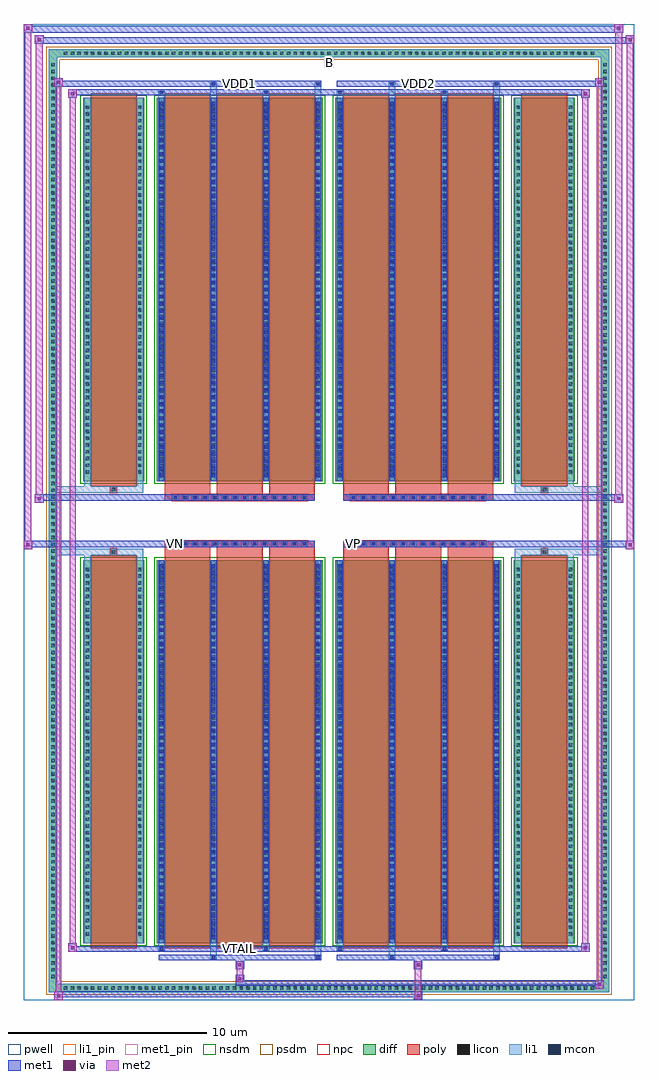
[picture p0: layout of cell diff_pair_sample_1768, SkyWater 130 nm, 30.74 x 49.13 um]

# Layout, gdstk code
import gdstk
lib = gdstk.Library(unit=1e-6, precision=5e-09)
def R(c, l, rs):  # rectangles x0, y0, x1, y1
    for r in rs: c.add(gdstk.rectangle(r[:2], r[2:], *l))
def A(c, l, x, y, w, h, nx, ny, dx, dy):  # array of equal rectangles
    R(c, l, [(x+i*dx, y+j*dy, x+i*dx+w, y+j*dy+h) for i in range(nx) for j in range(ny)])
def P(c, l, *ps):  # polygons
    for p in ps: c.add(gdstk.Polygon(p, *l))
pwell = (64, 44)
diff = (65, 20)
poly = (66, 20)
licon = (66, 44)
li1_pin = (67, 16)
li1 = (67, 20)
mcon = (67, 44)
met1_pin = (68, 16)
met1 = (68, 20)
via = (68, 44)
met2 = (69, 20)
nsdm = (93, 44)
psdm = (94, 20)
npc = (95, 20)

diff_pair_sample_1768 = lib.new_cell('diff_pair_sample_1768')
R(diff_pair_sample_1768, pwell, [(-15.37,-24.13,15.37,25), (-12.69,-22.32,-0.01,-0.8), (0.01,-22.32,12.69,-0.8), (-12.69,0.8,-0.01,22.32), (0.01,0.8,12.69,22.32)])
A(diff_pair_sample_1768, diff, -13.465, -23.73, 0.41, 0.41, 79, 2, 0.34, 47.05)
A(diff_pair_sample_1768, diff, -14.1, -23.155, 0.41, 0.41, 1, 136, 0, 0.34)
A(diff_pair_sample_1768, diff, 13.69, -23.155, 0.41, 0.41, 1, 136, 0, 0.34)
R(diff_pair_sample_1768, diff, [(-13.465,-23.73,13.465,-23.32), (-14.1,-23.155,-13.69,23.155), (13.69,-23.155,14.1,23.155), (-12.38,-21.275,-9.3,-1.985), (-8.66,-21.275,-0.32,-1.985), (0.32,-21.275,8.66,-1.985), (9.3,-21.275,12.38,-1.985), (-12.38,1.985,-9.3,21.275), (-8.66,1.985,-0.32,21.275), (0.32,1.985,8.66,21.275), (9.3,1.985,12.38,21.275), (-13.465,23.32,13.465,23.73)])
P(diff_pair_sample_1768, diff, [(14.1,23.73),(-14.1,23.73),(-14.1,-23.32),(-13.69,-23.32),(-13.69,23.32),(13.69,23.32),(13.69,-23.32),(-13.69,-23.32),(-14.1,-23.32),(-14.1,-23.73),(14.1,-23.73)])
A(diff_pair_sample_1768, poly, -8.27, -21.525, 2.3, 19.79, 3, 2, 2.63, 23.26)
A(diff_pair_sample_1768, poly, 0.71, -21.525, 2.3, 19.79, 3, 2, 2.63, 23.26)
A(diff_pair_sample_1768, poly, -8.27, -1.735, 2.3, 0.405, 3, 2, 2.63, 3.065)
A(diff_pair_sample_1768, poly, 0.71, -1.735, 2.3, 0.405, 3, 2, 2.63, 3.065)
A(diff_pair_sample_1768, poly, -7.905, -1.33, 0.33, 0.33, 14, 2, 0.5, 2.33)
A(diff_pair_sample_1768, poly, 1.075, -1.33, 0.33, 0.33, 14, 2, 0.5, 2.33)
R(diff_pair_sample_1768, poly, [(-11.99,-21.525,-9.69,-1.735), (9.69,-21.525,11.99,-1.735), (-11.005,-1.735,-10.675,-1.405), (-11.005,-1.735,-10.675,-1.405), (10.675,-1.735,11.005,-1.405), (10.675,-1.735,11.005,-1.405), (-8.27,-1.33,-0.71,-1), (0.71,-1.33,8.27,-1), (-8.27,1,-0.71,1.33), (0.71,1,8.27,1.33), (-11.005,1.405,-10.675,1.735), (-11.005,1.405,-10.675,1.735), (10.675,1.405,11.005,1.735), (10.675,1.405,11.005,1.735), (-11.99,1.735,-9.69,21.525), (9.69,1.735,11.99,21.525)])
A(diff_pair_sample_1768, licon, -13.345, -23.61, 0.17, 0.17, 79, 2, 0.34, 47.05)
A(diff_pair_sample_1768, licon, -13.98, -23.035, 0.17, 0.17, 1, 136, 0, 0.34)
A(diff_pair_sample_1768, licon, 13.81, -23.035, 0.17, 0.17, 1, 136, 0, 0.34)
A(diff_pair_sample_1768, licon, -12.24, -20.895, 0.17, 0.17, 1, 55, 0, 0.34)
A(diff_pair_sample_1768, licon, -9.61, -20.895, 0.17, 0.17, 1, 55, 0, 0.34)
A(diff_pair_sample_1768, licon, -8.52, -20.895, 0.17, 0.17, 4, 55, 2.63, 0.34)
A(diff_pair_sample_1768, licon, 0.46, -20.895, 0.17, 0.17, 4, 55, 2.63, 0.34)
A(diff_pair_sample_1768, licon, 9.44, -20.895, 0.17, 0.17, 1, 55, 0, 0.34)
A(diff_pair_sample_1768, licon, 12.07, -20.895, 0.17, 0.17, 1, 55, 0, 0.34)
A(diff_pair_sample_1768, licon, -7.825, -1.25, 0.17, 0.17, 14, 2, 0.5, 2.33)
A(diff_pair_sample_1768, licon, 1.155, -1.25, 0.17, 0.17, 14, 2, 0.5, 2.33)
A(diff_pair_sample_1768, licon, -12.24, 2.365, 0.17, 0.17, 1, 55, 0, 0.34)
A(diff_pair_sample_1768, licon, -9.61, 2.365, 0.17, 0.17, 1, 55, 0, 0.34)
A(diff_pair_sample_1768, licon, -8.52, 2.365, 0.17, 0.17, 4, 55, 2.63, 0.34)
A(diff_pair_sample_1768, licon, 0.46, 2.365, 0.17, 0.17, 4, 55, 2.63, 0.34)
A(diff_pair_sample_1768, licon, 9.44, 2.365, 0.17, 0.17, 1, 55, 0, 0.34)
A(diff_pair_sample_1768, licon, 12.07, 2.365, 0.17, 0.17, 1, 55, 0, 0.34)
R(diff_pair_sample_1768, licon, [(-10.925,-1.655,-10.755,-1.485), (10.755,-1.655,10.925,-1.485), (-10.925,1.485,-10.755,1.655), (10.755,1.485,10.925,1.655)])
R(diff_pair_sample_1768, li1_pin, [(-0.25,22.82,0.25,23.32)])
A(diff_pair_sample_1768, li1, -13.425, -23.69, 0.33, 0.33, 79, 2, 0.34, 47.05)
A(diff_pair_sample_1768, li1, -14.06, -23.115, 0.33, 0.33, 1, 136, 0, 0.34)
A(diff_pair_sample_1768, li1, 13.73, -23.115, 0.33, 0.33, 1, 136, 0, 0.34)
A(diff_pair_sample_1768, li1, -8.6, -21.275, 0.33, 19.29, 4, 2, 2.63, 23.26)
A(diff_pair_sample_1768, li1, 0.38, -21.275, 0.33, 19.29, 4, 2, 2.63, 23.26)
A(diff_pair_sample_1768, li1, -8.52, -21.075, 0.17, 0.17, 4, 53, 2.63, 0.36)
A(diff_pair_sample_1768, li1, -8.52, -21.075, 0.17, 18.89, 4, 2, 2.63, 23.26)
A(diff_pair_sample_1768, li1, 0.46, -21.075, 0.17, 0.17, 4, 53, 2.63, 0.36)
A(diff_pair_sample_1768, li1, 0.46, -21.075, 0.17, 18.89, 4, 2, 2.63, 23.26)
A(diff_pair_sample_1768, li1, -12.32, -20.975, 0.33, 0.33, 1, 55, 0, 0.34)
A(diff_pair_sample_1768, li1, -9.69, -20.975, 0.33, 0.33, 1, 55, 0, 0.34)
A(diff_pair_sample_1768, li1, -8.6, -20.975, 0.33, 0.33, 4, 55, 2.63, 0.34)
A(diff_pair_sample_1768, li1, 0.38, -20.975, 0.33, 0.33, 4, 55, 2.63, 0.34)
A(diff_pair_sample_1768, li1, 9.36, -20.975, 0.33, 0.33, 1, 55, 0, 0.34)
A(diff_pair_sample_1768, li1, 11.99, -20.975, 0.33, 0.33, 1, 55, 0, 0.34)
A(diff_pair_sample_1768, li1, -7.905, -1.33, 0.33, 0.33, 14, 2, 0.5, 2.33)
A(diff_pair_sample_1768, li1, 1.075, -1.33, 0.33, 0.33, 14, 2, 0.5, 2.33)
A(diff_pair_sample_1768, li1, -8.52, 2.185, 0.17, 0.17, 4, 53, 2.63, 0.36)
A(diff_pair_sample_1768, li1, 0.46, 2.185, 0.17, 0.17, 4, 53, 2.63, 0.36)
A(diff_pair_sample_1768, li1, -12.32, 2.285, 0.33, 0.33, 1, 55, 0, 0.34)
A(diff_pair_sample_1768, li1, -9.69, 2.285, 0.33, 0.33, 1, 55, 0, 0.34)
A(diff_pair_sample_1768, li1, -8.6, 2.285, 0.33, 0.33, 4, 55, 2.63, 0.34)
A(diff_pair_sample_1768, li1, 0.38, 2.285, 0.33, 0.33, 4, 55, 2.63, 0.34)
A(diff_pair_sample_1768, li1, 9.36, 2.285, 0.33, 0.33, 1, 55, 0, 0.34)
A(diff_pair_sample_1768, li1, 11.99, 2.285, 0.33, 0.33, 1, 55, 0, 0.34)
R(diff_pair_sample_1768, li1, [(-14.1,-23.73,-13.69,-23.32), (-14.1,-23.73,-13.69,-23.32), (-13.69,-23.73,13.69,-23.32), (13.69,-23.73,14.1,-23.32), (13.69,-23.73,14.1,-23.32), (-14.1,-23.32,-13.69,23.32), (13.69,-23.32,14.1,23.32), (-5.97,-22.08,-5.64,-21.275), (-5.89,-22.08,-5.72,-21.91), (-0.71,-22.08,-0.38,-21.275), (-0.63,-22.08,-0.46,-21.91), (3.01,-22.08,3.34,-21.275), (3.09,-22.08,3.26,-21.91), (8.27,-22.08,8.6,-21.275), (8.35,-22.08,8.52,-21.91), (-8.6,-21.65,-8.27,-21.275), (-8.52,-21.65,-8.35,-21.48), (-3.34,-21.65,-3.01,-21.275), (-3.26,-21.65,-3.09,-21.48), (0.38,-21.65,0.71,-21.275), (0.46,-21.65,0.63,-21.48), (5.64,-21.65,5.97,-21.275), (5.72,-21.65,5.89,-21.48), (-12.32,-21.275,-11.99,-1.985), (-9.69,-21.275,-9.36,-1.985), (9.36,-21.275,9.69,-1.985), (11.99,-21.275,12.32,-1.985), (-12.32,-1.985,-11.99,-1.405), (-9.69,-1.985,-9.36,-1.405), (9.36,-1.985,9.69,-1.405), (11.99,-1.985,12.32,-1.405), (-14.1,-1.735,-11.005,-1.405), (-12.32,-1.735,-11.005,-1.405), (-11.005,-1.735,-10.675,-1.405), (-10.675,-1.735,-9.36,-1.405), (9.36,-1.735,10.675,-1.405), (10.675,-1.735,11.005,-1.405), (10.675,-1.735,14.1,-1.405), (11.005,-1.735,12.32,-1.405), (-14.1,1.405,-11.005,1.735), (-12.32,1.405,-11.005,1.735), (-12.32,1.405,-11.99,1.985), (-11.005,1.405,-10.675,1.735), (-10.675,1.405,-9.36,1.735), (-9.69,1.405,-9.36,1.985), (9.36,1.405,10.675,1.735), (9.36,1.405,9.69,1.985), (10.675,1.405,11.005,1.735), (10.675,1.405,14.1,1.735), (11.005,1.405,12.32,1.735), (11.99,1.405,12.32,1.985), (-12.32,1.985,-11.99,21.275), (-9.69,1.985,-9.36,21.275), (9.36,1.985,9.69,21.275), (11.99,1.985,12.32,21.275), (-8.6,21.275,-8.27,21.65), (-5.97,21.275,-5.64,22.08), (-3.34,21.275,-3.01,21.65), (-0.71,21.275,-0.38,22.08), (0.38,21.275,0.71,21.65), (3.01,21.275,3.34,22.08), (5.64,21.275,5.97,21.65), (8.27,21.275,8.6,22.08), (-8.52,21.48,-8.35,21.65), (-3.26,21.48,-3.09,21.65), (0.46,21.48,0.63,21.65), (5.72,21.48,5.89,21.65), (-5.89,21.91,-5.72,22.08), (-0.63,21.91,-0.46,22.08), (3.09,21.91,3.26,22.08), (8.35,21.91,8.52,22.08), (-14.1,23.32,-13.69,23.73), (-14.1,23.32,-13.69,23.73), (-13.69,23.32,13.69,23.73), (13.69,23.32,14.1,23.73), (13.69,23.32,14.1,23.73)])
A(diff_pair_sample_1768, mcon, -8.52, -21.075, 0.17, 0.17, 4, 53, 2.63, 0.36)
A(diff_pair_sample_1768, mcon, 0.46, -21.075, 0.17, 0.17, 4, 53, 2.63, 0.36)
A(diff_pair_sample_1768, mcon, -7.825, -1.25, 0.17, 0.17, 14, 2, 0.5, 2.33)
A(diff_pair_sample_1768, mcon, 1.155, -1.25, 0.17, 0.17, 14, 2, 0.5, 2.33)
A(diff_pair_sample_1768, mcon, -8.52, 2.185, 0.17, 0.17, 4, 53, 2.63, 0.36)
A(diff_pair_sample_1768, mcon, 0.46, 2.185, 0.17, 0.17, 4, 53, 2.63, 0.36)
R(diff_pair_sample_1768, mcon, [(-5.89,-22.08,-5.72,-21.91), (-0.63,-22.08,-0.46,-21.91), (3.09,-22.08,3.26,-21.91), (8.35,-22.08,8.52,-21.91), (-8.52,-21.65,-8.35,-21.48), (-3.26,-21.65,-3.09,-21.48), (0.46,-21.65,0.63,-21.48), (5.72,-21.65,5.89,-21.48), (-8.52,21.48,-8.35,21.65), (-3.26,21.48,-3.09,21.65), (0.46,21.48,0.63,21.65), (5.72,21.48,5.89,21.65), (-5.89,21.91,-5.72,22.08), (-0.63,21.91,-0.46,22.08), (3.09,21.91,3.26,22.08), (8.35,21.91,8.52,22.08)])
R(diff_pair_sample_1768, met1_pin, [(-4.625,-21.69,-4.355,-21.42), (-7.875,-1.29,-7.605,-1.02), (1.105,-1.29,1.375,-1.02), (-4.625,21.87,-4.355,22.14), (4.355,21.87,4.625,22.14)])
A(diff_pair_sample_1768, met1, -8.58, -21.275, 0.29, 19.29, 4, 2, 2.63, 23.26)
A(diff_pair_sample_1768, met1, 0.4, -21.275, 0.29, 19.29, 4, 2, 2.63, 23.26)
A(diff_pair_sample_1768, met1, -8.58, -21.135, 0.29, 0.29, 4, 53, 2.63, 0.36)
A(diff_pair_sample_1768, met1, 0.4, -21.135, 0.29, 0.29, 4, 53, 2.63, 0.36)
A(diff_pair_sample_1768, met1, -7.885, -1.31, 0.29, 0.29, 14, 2, 0.5, 2.33)
A(diff_pair_sample_1768, met1, 1.095, -1.31, 0.29, 0.29, 14, 2, 0.5, 2.33)
A(diff_pair_sample_1768, met1, -8.58, 2.125, 0.29, 0.29, 4, 53, 2.63, 0.36)
A(diff_pair_sample_1768, met1, 0.4, 2.125, 0.29, 0.29, 4, 53, 2.63, 0.36)
R(diff_pair_sample_1768, met1, [(-13.83,-24.13,-13.4,-23.7), (4.275,-24.13,4.705,-23.7), (-13.83,-23.99,4.705,-23.7), (13.4,-23.56,13.83,-23.13), (-4.705,-23.42,13.83,-23.13), (-4.705,-23.28,-4.275,-22.85), (-4.705,-22.57,-4.275,-22.14), (4.275,-22.57,4.705,-22.14), (-8.58,-22.14,-0.4,-21.85), (-5.95,-22.14,-5.66,-21.85), (-0.69,-22.14,-0.4,-21.85), (0.4,-22.14,8.58,-21.85), (3.03,-22.14,3.32,-21.85), (8.29,-22.14,8.58,-21.85), (-13.12,-21.71,-12.69,-21.28), (-13.12,-21.71,-8.58,-21.42), (-8.58,-21.71,-8.29,-21.42), (-8.58,-21.71,-0.4,-21.42), (-3.32,-21.71,-3.03,-21.42), (-0.4,-21.71,0.4,-21.42), (0.4,-21.71,0.69,-21.42), (0.4,-21.71,8.58,-21.42), (5.66,-21.71,5.95,-21.42), (8.58,-21.71,13.12,-21.42), (12.69,-21.71,13.12,-21.28), (-15.37,-1.43,-14.94,-1), (14.94,-1.43,15.37,-1), (-15.37,-1.33,-0.71,-1), (-8.27,-1.33,-0.71,-1), (0.71,-1.33,8.27,-1), (0.71,-1.33,15.37,-1), (-14.8,0.9,-14.37,1.33), (14.37,0.9,14.8,1.33), (-14.8,1,-8.27,1.33), (-8.27,1,-0.71,1.33), (0.71,1,8.27,1.33), (8.27,1,14.8,1.33), (-13.12,21.28,-12.69,21.71), (12.69,21.28,13.12,21.71), (-13.12,21.42,-8.58,21.71), (-8.58,21.42,-8.29,21.71), (-8.58,21.42,-0.4,21.71), (-3.32,21.42,-3.03,21.71), (-0.4,21.42,0.4,21.71), (0.4,21.42,0.69,21.71), (0.4,21.42,8.58,21.71), (5.66,21.42,5.95,21.71), (8.58,21.42,13.12,21.71), (-13.83,21.85,-13.4,22.28), (-13.83,21.85,-8.58,22.14), (-8.58,21.85,-0.4,22.14), (-5.95,21.85,-5.66,22.14), (-0.69,21.85,-0.4,22.14), (0.4,21.85,8.58,22.14), (3.03,21.85,3.32,22.14), (8.29,21.85,8.58,22.14), (8.58,21.85,13.83,22.14), (13.4,21.85,13.83,22.28), (-14.8,24,-14.37,24.43), (-14.8,24,-12.69,24.33), (-12.69,24,12.69,24.33), (12.69,24,15.37,24.33), (14.94,24,15.37,24.43), (-15.37,24.57,-14.94,25), (-15.37,24.57,-12.69,24.9), (-12.69,24.57,12.69,24.9), (12.69,24.57,14.8,24.9), (14.37,24.57,14.8,25)])
R(diff_pair_sample_1768, via, [(-13.69,-23.99,-13.54,-23.84), (4.415,-23.99,4.565,-23.84), (13.54,-23.42,13.69,-23.27), (-4.565,-23.14,-4.415,-22.99), (-4.565,-22.43,-4.415,-22.28), (4.415,-22.43,4.565,-22.28), (-12.98,-21.57,-12.83,-21.42), (12.83,-21.57,12.98,-21.42), (-15.23,-1.29,-15.08,-1.14), (15.08,-1.29,15.23,-1.14), (-14.66,1.04,-14.51,1.19), (14.51,1.04,14.66,1.19), (-12.98,21.42,-12.83,21.57), (12.83,21.42,12.98,21.57), (-13.69,21.99,-13.54,22.14), (13.54,21.99,13.69,22.14), (-14.66,24.14,-14.51,24.29), (15.08,24.14,15.23,24.29), (-15.23,24.71,-15.08,24.86), (14.51,24.71,14.66,24.86)])
R(diff_pair_sample_1768, met2, [(-13.83,-24.13,-13.4,-23.7), (-13.76,-24.13,-13.47,22.28), (-13.47,-24.13,-13.4,-23.7), (-13.78,-24.08,-13.45,-23.75), (4.325,-24.08,4.655,-23.75), (4.325,-23.75,4.655,-22.52), (13.4,-23.56,13.83,-23.13), (13.47,-23.56,13.76,22.28), (13.76,-23.56,13.83,-23.13), (13.45,-23.51,13.78,-23.18), (-4.655,-23.23,-4.325,-22.9), (-4.655,-22.9,-4.325,-22.52), (-4.655,-22.52,-4.325,-22.19), (4.325,-22.52,4.655,-22.19), (-13.12,-21.71,-12.69,-21.28), (-13.05,-21.71,-12.76,21.71), (-12.76,-21.71,-12.69,-21.28), (12.69,-21.71,13.12,-21.28), (12.76,-21.71,13.05,21.71), (13.05,-21.71,13.12,-21.28), (-13.07,-21.66,-12.74,-21.33), (12.74,-21.66,13.07,-21.33), (-15.37,-1.43,-14.94,-1), (-15.32,-1.43,-14.99,25), (-14.99,-1.43,-14.94,-1), (14.94,-1.43,15.37,-1), (14.99,-1.43,15.32,24.43), (15.32,-1.43,15.37,-1), (-15.32,-1.38,-14.99,-1.05), (14.99,-1.38,15.32,-1.05), (-14.8,0.9,-14.37,1.33), (-14.75,0.9,-14.42,24.43), (-14.42,0.9,-14.37,1.33), (14.37,0.9,14.8,1.33), (14.42,0.9,14.75,25), (14.75,0.9,14.8,1.33), (-14.75,0.95,-14.42,1.28), (14.42,0.95,14.75,1.28), (-13.12,21.28,-12.69,21.71), (-12.76,21.28,-12.69,21.71), (12.69,21.28,13.12,21.71), (13.05,21.28,13.12,21.71), (-13.07,21.33,-12.74,21.66), (12.74,21.33,13.07,21.66), (-13.83,21.85,-13.4,22.28), (-13.47,21.85,-13.4,22.28), (13.4,21.85,13.83,22.28), (13.76,21.85,13.83,22.28), (-13.78,21.9,-13.45,22.23), (13.45,21.9,13.78,22.23), (-14.8,24,-14.37,24.43), (-14.42,24,-14.37,24.43), (14.94,24,15.37,24.43), (15.32,24,15.37,24.43), (-14.75,24.05,-14.42,24.38), (14.99,24.05,15.32,24.38), (-15.37,24.57,-14.94,25), (-14.99,24.57,-14.94,25), (14.37,24.57,14.8,25), (14.75,24.57,14.8,25), (-15.32,24.62,-14.99,24.95), (14.42,24.62,14.75,24.95)])
R(diff_pair_sample_1768, nsdm, [(-12.51,-21.405,-9.17,-1.855), (-8.79,-21.405,-0.19,-1.855), (0.19,-21.405,8.79,-1.855), (9.17,-21.405,12.51,-1.855), (-12.51,1.855,-9.17,21.405), (-8.79,1.855,-0.19,21.405), (0.19,1.855,8.79,21.405), (9.17,1.855,12.51,21.405)])
P(diff_pair_sample_1768, psdm, [(14.23,23.86),(-14.23,23.86),(-14.23,-23.19),(-13.56,-23.19),(-13.56,23.19),(13.56,23.19),(13.56,-23.19),(-13.56,-23.19),(-14.23,-23.19),(-14.23,-23.86),(14.23,-23.86)])
A(diff_pair_sample_1768, npc, -7.925, -1.35, 0.37, 0.37, 14, 2, 0.5, 2.33)
A(diff_pair_sample_1768, npc, 1.055, -1.35, 0.37, 0.37, 14, 2, 0.5, 2.33)
R(diff_pair_sample_1768, npc, [(-11.025,-1.755,-10.655,-1.385), (10.655,-1.755,11.025,-1.385), (-7.925,-1.35,-7.055,-0.98), (-7.925,-1.35,-7.055,-0.98), (-7.425,-1.35,-6.555,-0.98), (-7.425,-1.35,-6.555,-0.98), (-6.925,-1.35,-6.055,-0.98), (-6.925,-1.35,-6.055,-0.98), (-6.425,-1.35,-5.555,-0.98), (-6.425,-1.35,-5.555,-0.98), (-5.925,-1.35,-5.055,-0.98), (-5.925,-1.35,-5.055,-0.98), (-5.425,-1.35,-4.555,-0.98), (-5.425,-1.35,-4.555,-0.98), (-4.925,-1.35,-4.055,-0.98), (-4.925,-1.35,-4.055,-0.98), (-4.425,-1.35,-3.555,-0.98), (-4.425,-1.35,-3.555,-0.98), (-3.925,-1.35,-3.055,-0.98), (-3.925,-1.35,-3.055,-0.98), (-3.425,-1.35,-2.555,-0.98), (-3.425,-1.35,-2.555,-0.98), (-2.925,-1.35,-2.055,-0.98), (-2.925,-1.35,-2.055,-0.98), (-2.425,-1.35,-1.555,-0.98), (-2.425,-1.35,-1.555,-0.98), (-1.925,-1.35,-1.055,-0.98), (-1.925,-1.35,-1.055,-0.98), (1.055,-1.35,1.925,-0.98), (1.055,-1.35,1.925,-0.98), (1.555,-1.35,2.425,-0.98), (1.555,-1.35,2.425,-0.98), (2.055,-1.35,2.925,-0.98), (2.055,-1.35,2.925,-0.98), (2.555,-1.35,3.425,-0.98), (2.555,-1.35,3.425,-0.98), (3.055,-1.35,3.925,-0.98), (3.055,-1.35,3.925,-0.98), (3.555,-1.35,4.425,-0.98), (3.555,-1.35,4.425,-0.98), (4.055,-1.35,4.925,-0.98), (4.055,-1.35,4.925,-0.98), (4.555,-1.35,5.425,-0.98), (4.555,-1.35,5.425,-0.98), (5.055,-1.35,5.925,-0.98), (5.055,-1.35,5.925,-0.98), (5.555,-1.35,6.425,-0.98), (5.555,-1.35,6.425,-0.98), (6.055,-1.35,6.925,-0.98), (6.055,-1.35,6.925,-0.98), (6.555,-1.35,7.425,-0.98), (6.555,-1.35,7.425,-0.98), (7.055,-1.35,7.925,-0.98), (7.055,-1.35,7.925,-0.98), (-7.925,0.98,-7.055,1.35), (-7.925,0.98,-7.055,1.35), (-7.425,0.98,-6.555,1.35), (-7.425,0.98,-6.555,1.35), (-6.925,0.98,-6.055,1.35), (-6.925,0.98,-6.055,1.35), (-6.425,0.98,-5.555,1.35), (-6.425,0.98,-5.555,1.35), (-5.925,0.98,-5.055,1.35), (-5.925,0.98,-5.055,1.35), (-5.425,0.98,-4.555,1.35), (-5.425,0.98,-4.555,1.35), (-4.925,0.98,-4.055,1.35), (-4.925,0.98,-4.055,1.35), (-4.425,0.98,-3.555,1.35), (-4.425,0.98,-3.555,1.35), (-3.925,0.98,-3.055,1.35), (-3.925,0.98,-3.055,1.35), (-3.425,0.98,-2.555,1.35), (-3.425,0.98,-2.555,1.35), (-2.925,0.98,-2.055,1.35), (-2.925,0.98,-2.055,1.35), (-2.425,0.98,-1.555,1.35), (-2.425,0.98,-1.555,1.35), (-1.925,0.98,-1.055,1.35), (-1.925,0.98,-1.055,1.35), (1.055,0.98,1.925,1.35), (1.055,0.98,1.925,1.35), (1.555,0.98,2.425,1.35), (1.555,0.98,2.425,1.35), (2.055,0.98,2.925,1.35), (2.055,0.98,2.925,1.35), (2.555,0.98,3.425,1.35), (2.555,0.98,3.425,1.35), (3.055,0.98,3.925,1.35), (3.055,0.98,3.925,1.35), (3.555,0.98,4.425,1.35), (3.555,0.98,4.425,1.35), (4.055,0.98,4.925,1.35), (4.055,0.98,4.925,1.35), (4.555,0.98,5.425,1.35), (4.555,0.98,5.425,1.35), (5.055,0.98,5.925,1.35), (5.055,0.98,5.925,1.35), (5.555,0.98,6.425,1.35), (5.555,0.98,6.425,1.35), (6.055,0.98,6.925,1.35), (6.055,0.98,6.925,1.35), (6.555,0.98,7.425,1.35), (6.555,0.98,7.425,1.35), (7.055,0.98,7.925,1.35), (7.055,0.98,7.925,1.35), (-11.025,1.385,-10.655,1.755), (10.655,1.385,11.025,1.755)])
diff_pair_sample_1768.add(gdstk.Label('VTAIL', (-4.49,-21.555), layer=68, texttype=5))
diff_pair_sample_1768.add(gdstk.Label('VN', (-7.74,-1.155), layer=68, texttype=5))
diff_pair_sample_1768.add(gdstk.Label('VP', (1.24,-1.155), layer=68, texttype=5))
diff_pair_sample_1768.add(gdstk.Label('B', (0,23.07), layer=67, texttype=5))
diff_pair_sample_1768.add(gdstk.Label('VDD2', (4.49,22.005), layer=68, texttype=5))
diff_pair_sample_1768.add(gdstk.Label('VDD1', (-4.49,22.005), layer=68, texttype=5))

lib.write_gds('diff_pair_sample_1768.gds')
